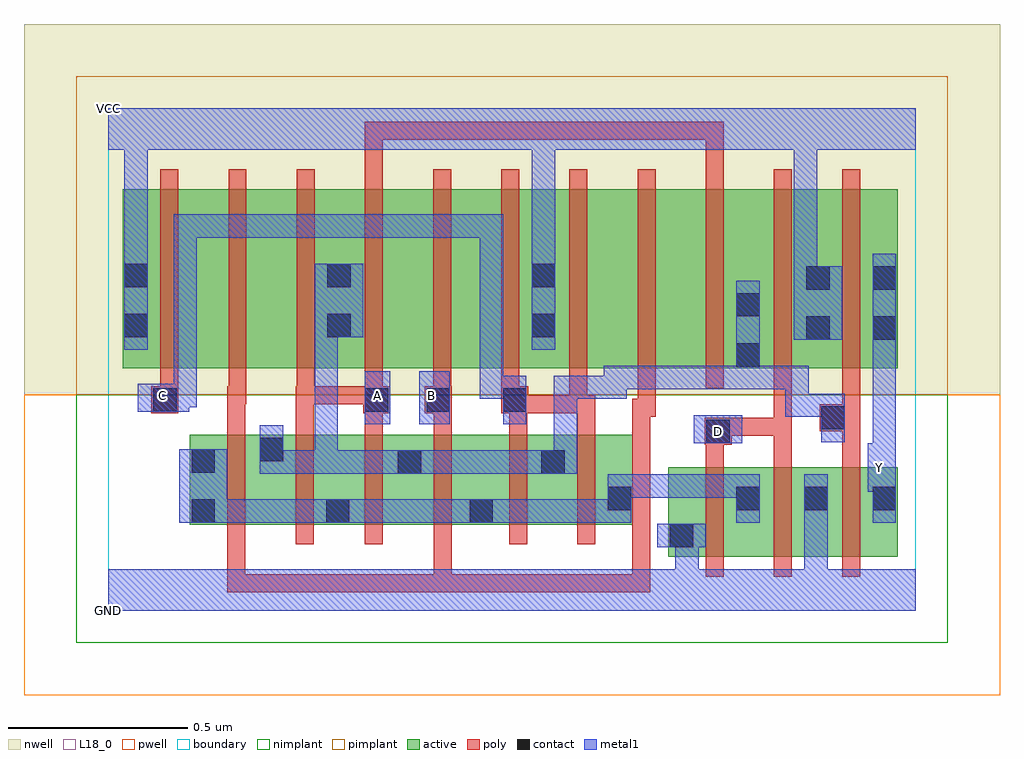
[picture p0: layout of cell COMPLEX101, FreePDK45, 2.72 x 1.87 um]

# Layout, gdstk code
import gdstk
lib = gdstk.Library(unit=1e-6, precision=1e-09)
def R(c, l, rs):  # rectangles x0, y0, x1, y1
    for r in rs: c.add(gdstk.rectangle(r[:2], r[2:], *l))
def A(c, l, x, y, w, h, nx, ny, dx, dy):  # array of equal rectangles
    R(c, l, [(x+i*dx, y+j*dy, x+i*dx+w, y+j*dy+h) for i in range(nx) for j in range(ny)])
active = (1, 0)
pwell = (2, 0)
nwell = (3, 0)
nimplant = (4, 0)
pimplant = (5, 0)
poly = (9, 0)
contact = (10, 0)
metal1 = (11, 0)
L18_0 = (18, 0)
boundary = (235, 0)

complex101 = lib.new_cell('COMPLEX101')
A(complex101, active, 0.602, 0.24, 0.275, 0.25, 3, 1, 0.2, 0)
A(complex101, active, 0.265, 0.675, 0.19, 0.5, 3, 1, 0.57, 0)
A(complex101, active, 0.455, 0.675, 0.225, 0.5, 3, 1, 0.57, 0)
R(complex101, active, [(1.56,0.15,1.82,0.4), (1.745,0.15,2.01,0.4), (1.935,0.15,2.2,0.4), (1.935,0.15,2.01,0.4), (1.56,0.172,1.635,0.4), (1.745,0.2,1.82,0.365), (2.125,0.2,2.2,0.4), (0.227,0.24,0.492,0.49), (0.227,0.24,0.302,0.49), (0.417,0.24,0.677,0.49), (0.602,0.24,0.677,0.467), (1.002,0.24,1.077,0.405), (1.202,0.24,1.462,0.49), (1.387,0.24,1.462,0.49), (0.417,0.297,0.492,0.487), (0.802,0.297,0.877,0.452), (1.202,0.297,1.277,0.475), (0.04,0.675,0.115,1.175), (0.04,0.675,0.265,1.175), (0.605,0.675,0.835,1.175), (0.605,0.675,0.68,1.07), (1.175,0.675,1.25,1.175), (1.175,0.675,1.405,1.175), (1.745,0.675,1.82,1.157), (1.745,0.675,2.015,1.175), (1.94,0.675,2.2,1.175), (1.94,0.675,2.015,1.175), (2.125,0.675,2.2,1.157)])
R(complex101, pwell, [(-0.235,-0.235,2.485,0.602)])
R(complex101, nwell, [(-0.235,0.602,2.485,1.635)])
R(complex101, nimplant, [(-0.09,-0.09,2.34,0.602)])
R(complex101, pimplant, [(-0.09,0.602,2.34,1.49)])
A(complex101, poly, 1.665, 0.095, 0.05, 0.36, 3, 1, 0.19, 0)
A(complex101, poly, 0.145, 0.575, 0.05, 0.095, 6, 1, 0.19, 0)
A(complex101, poly, 0.145, 0.62, 0.05, 0.61, 11, 1, 0.19, 0)
R(complex101, poly, [(0.332,0.052,0.382,0.235), (0.332,0.052,0.382,0.102), (0.332,0.052,0.382,0.102), (0.332,0.052,0.382,0.102), (0.332,0.052,0.627,0.102), (0.577,0.052,0.627,0.102), (0.577,0.052,0.627,0.102), (0.577,0.052,0.627,0.102), (0.577,0.052,0.8,0.102), (0.75,0.052,0.8,0.102), (0.75,0.052,0.8,0.102), (0.75,0.052,0.8,0.102), (0.75,0.052,0.957,0.102), (0.907,0.052,0.957,0.235), (0.907,0.052,0.957,0.102), (0.907,0.052,0.957,0.102), (0.907,0.052,0.957,0.102), (0.907,0.052,1.202,0.102), (1.152,0.052,1.202,0.102), (1.152,0.052,1.377,0.102), (1.327,0.052,1.377,0.102), (1.327,0.052,1.377,0.102), (1.327,0.052,1.377,0.102), (1.327,0.052,1.51,0.102), (1.46,0.052,1.51,0.102), (1.46,0.052,1.51,0.102), (1.46,0.052,1.51,0.102), (1.46,0.052,1.51,0.102), (1.46,0.052,1.51,0.102), (1.46,0.052,1.51,0.59), (0.332,0.185,0.382,0.545), (0.522,0.185,0.572,0.545), (0.715,0.185,0.765,0.545), (0.907,0.185,0.957,0.545), (1.117,0.185,1.167,0.545), (1.307,0.185,1.357,0.545), (1.665,0.405,1.715,0.512), (1.855,0.405,1.905,0.537), (2.045,0.405,2.095,0.55), (1.662,0.462,1.737,0.537), (1.687,0.487,1.9,0.537), (1.85,0.487,1.905,0.537), (1.85,0.487,1.9,0.537), (1.855,0.487,1.905,0.67), (1.855,0.487,1.905,0.537), (0.332,0.495,0.382,0.625), (0.522,0.495,0.572,0.625), (0.715,0.495,0.765,0.6), (0.907,0.495,0.957,0.6), (1.117,0.495,1.167,0.6), (1.307,0.495,1.357,0.6), (1.982,0.5,2.095,0.575), (2.045,0.525,2.095,0.67), (1.46,0.54,1.51,0.59), (1.46,0.54,1.51,0.59), (1.46,0.54,1.525,0.59), (1.475,0.54,1.525,0.67), (0.12,0.55,0.195,0.625), (0.71,0.55,0.785,0.625), (0.882,0.55,0.957,0.625), (1.095,0.55,1.17,0.625), (1.12,0.55,1.335,0.6), (1.285,0.55,1.335,0.6), (1.285,0.55,1.335,0.6), (1.285,0.55,1.335,0.67), (1.285,0.55,1.357,0.6), (0.332,0.575,0.385,0.625), (0.522,0.575,0.575,0.625), (0.525,0.575,0.575,0.625), (0.525,0.575,0.575,0.625), (0.525,0.575,0.76,0.625), (0.715,1.18,0.765,1.362), (1.665,1.18,1.715,1.362), (0.715,1.312,0.765,1.362), (0.715,1.312,0.765,1.362), (0.715,1.312,0.765,1.362), (0.715,1.312,1.012,1.362), (0.962,1.312,1.012,1.362), (0.962,1.312,1.012,1.362), (0.962,1.312,1.012,1.362), (0.962,1.312,1.202,1.362), (1.152,1.312,1.202,1.362), (1.152,1.312,1.202,1.362), (1.152,1.312,1.202,1.362), (1.152,1.312,1.377,1.362), (1.327,1.312,1.377,1.362), (1.327,1.312,1.51,1.362), (1.46,1.312,1.51,1.362), (1.46,1.312,1.51,1.362), (1.46,1.312,1.51,1.362), (1.46,1.312,1.715,1.362), (1.665,1.312,1.715,1.362), (1.665,1.312,1.715,1.362), (1.665,1.312,1.715,1.362)])
A(complex101, contact, 1.75, 0.28, 0.065, 0.065, 3, 1, 0.19, 0)
R(complex101, contact, [(1.565,0.177,1.63,0.242), (0.232,0.245,0.297,0.31), (0.607,0.245,0.672,0.31), (1.007,0.245,1.072,0.31), (1.392,0.28,1.457,0.345), (0.807,0.382,0.872,0.447), (1.207,0.382,1.272,0.447), (0.232,0.385,0.297,0.45), (0.422,0.417,0.487,0.482), (1.667,0.467,1.732,0.532), (1.987,0.505,2.052,0.57), (0.125,0.555,0.19,0.62), (0.715,0.555,0.78,0.62), (0.887,0.555,0.952,0.62), (1.1,0.555,1.165,0.62), (1.75,0.68,1.815,0.745), (1.945,0.755,2.01,0.82), (2.13,0.755,2.195,0.82), (0.045,0.762,0.11,0.827), (0.61,0.762,0.675,0.827), (1.18,0.762,1.245,0.827), (1.75,0.82,1.815,0.885), (1.945,0.895,2.01,0.96), (2.13,0.895,2.195,0.96), (0.045,0.902,0.11,0.967), (0.61,0.902,0.675,0.967), (1.18,0.902,1.245,0.967)])
A(complex101, metal1, 1.75, 0.245, 0.065, 0.135, 3, 1, 0.19, 0)
R(complex101, metal1, [(0,0,2.25,0.115), (1.58,0.05,1.645,0.115), (1.58,0.05,1.645,0.115), (1.58,0.05,1.645,0.242), (1.94,0.05,2.005,0.115), (1.94,0.05,2.005,0.115), (1.94,0.05,2.005,0.115), (1.94,0.05,2.005,0.115), (1.94,0.05,2.005,0.31), (1.53,0.177,1.665,0.242), (1.58,0.177,1.645,0.242), (1.58,0.177,1.645,0.242), (0.197,0.245,0.332,0.45), (0.267,0.245,0.362,0.31), (0.297,0.245,0.362,0.31), (0.297,0.245,0.5,0.31), (0.435,0.245,0.5,0.31), (0.435,0.245,0.5,0.31), (0.435,0.245,0.5,0.31), (0.435,0.245,0.637,0.31), (0.572,0.245,0.707,0.31), (0.642,0.245,0.707,0.31), (0.642,0.245,0.707,0.31), (0.642,0.245,0.847,0.31), (0.782,0.245,0.847,0.31), (0.782,0.245,0.847,0.31), (0.782,0.245,0.847,0.31), (0.782,0.245,1.037,0.31), (0.972,0.245,1.107,0.31), (1.042,0.245,1.107,0.31), (1.042,0.245,1.107,0.31), (1.042,0.245,1.302,0.31), (1.237,0.245,1.302,0.31), (1.237,0.245,1.302,0.31), (1.237,0.245,1.302,0.31), (1.237,0.245,1.457,0.31), (1.392,0.245,1.457,0.38), (1.392,0.315,1.457,0.38), (1.392,0.315,1.457,0.38), (1.392,0.315,1.457,0.38), (1.392,0.315,1.457,0.38), (1.392,0.315,1.677,0.38), (1.612,0.315,1.677,0.38), (1.612,0.315,1.677,0.38), (1.612,0.315,1.677,0.38), (1.612,0.315,1.815,0.38), (2.13,0.315,2.195,0.397), (2.117,0.332,2.195,0.467), (0.422,0.382,0.487,0.517), (0.422,0.382,0.5,0.447), (0.435,0.382,0.5,0.447), (0.435,0.382,0.64,0.447), (0.575,0.382,0.64,0.447), (0.575,0.382,0.64,0.447), (0.575,0.382,0.64,0.447), (0.575,0.382,0.837,0.447), (0.575,0.382,0.64,0.827), (0.772,0.382,0.907,0.447), (0.842,0.382,0.907,0.447), (0.842,0.382,0.907,0.447), (0.842,0.382,1.1,0.447), (1.035,0.382,1.1,0.447), (1.035,0.382,1.1,0.447), (1.035,0.382,1.1,0.447), (1.035,0.382,1.237,0.447), (1.172,0.382,1.307,0.447), (1.242,0.382,1.307,0.655), (2.13,0.402,2.195,0.785), (1.632,0.467,1.767,0.545), (1.987,0.47,2.052,0.605), (0.715,0.52,0.785,0.667), (0.867,0.52,0.952,0.667), (1.1,0.52,1.165,0.655), (1.887,0.54,2.052,0.605), (1.887,0.54,1.952,0.605), (1.887,0.54,1.952,0.682), (0.082,0.555,0.225,0.632), (0.16,0.567,0.247,0.632), (0.182,0.567,0.247,0.632), (0.182,0.567,0.247,1.105), (1.035,0.59,1.1,0.655), (1.035,0.59,1.165,0.655), (1.035,0.59,1.1,1.105), (1.242,0.59,1.307,0.655), (1.242,0.59,1.307,0.655), (1.242,0.59,1.307,0.655), (1.242,0.59,1.307,0.655), (1.242,0.59,1.307,0.655), (1.242,0.59,1.445,0.655), (1.38,0.59,1.445,0.655), (1.38,0.59,1.445,0.655), (1.38,0.59,1.445,0.682), (1.38,0.617,1.677,0.682), (1.612,0.617,1.677,0.682), (1.612,0.617,1.677,0.682), (1.612,0.617,1.677,0.682), (1.612,0.617,1.815,0.682), (1.75,0.617,1.815,0.682), (1.75,0.617,1.815,0.682), (1.75,0.617,1.952,0.682), (1.75,0.617,1.815,0.92), (1.887,0.617,1.952,0.682), (2.13,0.72,2.195,0.995), (0.045,0.727,0.11,1.002), (1.18,0.727,1.245,1.002), (1.91,0.755,2.045,0.96), (0.575,0.762,0.64,0.827), (0.575,0.762,0.64,0.827), (0.575,0.762,0.71,0.967), (1.91,0.895,1.975,1.35), (0.045,0.937,0.11,1.35), (1.18,0.937,1.245,1.35), (0.182,1.04,0.247,1.105), (0.182,1.04,0.247,1.105), (0.182,1.04,0.247,1.105), (0.182,1.04,0.362,1.105), (0.297,1.04,0.362,1.105), (0.297,1.04,0.5,1.105), (0.435,1.04,0.5,1.105), (0.435,1.04,0.5,1.105), (0.435,1.04,0.5,1.105), (0.435,1.04,0.637,1.105), (0.572,1.04,0.637,1.105), (0.572,1.04,0.637,1.105), (0.572,1.04,0.637,1.105), (0.572,1.04,0.847,1.105), (0.782,1.04,0.847,1.105), (0.782,1.04,0.847,1.105), (0.782,1.04,0.847,1.105), (0.782,1.04,0.847,1.105), (0.782,1.04,0.847,1.105), (0.782,1.04,1.1,1.105), (1.035,1.04,1.1,1.105), (0,1.285,2.25,1.4), (0.045,1.285,0.11,1.35), (0.045,1.285,0.11,1.35), (1.18,1.285,1.245,1.35), (1.18,1.285,1.245,1.35), (1.91,1.285,1.975,1.35), (1.91,1.285,1.975,1.35)])
R(complex101, L18_0, [(0,0,2.25,0.115), (1.58,0.05,1.645,0.115), (1.58,0.05,1.645,0.115), (1.58,0.05,1.645,0.242), (1.94,0.05,2.005,0.115), (1.94,0.05,2.005,0.115), (1.94,0.05,2.005,0.115), (1.94,0.05,2.005,0.115), (1.94,0.05,2.005,0.31), (1.53,0.177,1.665,0.242), (1.58,0.177,1.645,0.242), (1.58,0.177,1.645,0.242), (1.94,0.245,2.005,0.38), (2.13,0.245,2.195,0.38), (2.13,0.315,2.195,0.397), (2.117,0.332,2.195,0.467), (2.117,0.367,2.182,0.432), (2.13,0.402,2.195,0.785), (1.632,0.467,1.767,0.545), (1.667,0.467,1.732,0.532), (0.715,0.52,0.785,0.667), (0.867,0.52,0.952,0.667), (1.1,0.52,1.165,0.655), (0.082,0.555,0.225,0.632), (0.117,0.567,0.182,0.632), (0.16,0.567,0.247,0.632), (0.182,0.567,0.247,0.632), (0.182,0.567,0.247,1.105), (0.717,0.567,0.782,0.632), (0.867,0.567,0.932,0.632), (1.035,0.59,1.1,0.655), (1.035,0.59,1.1,1.105), (1.035,0.59,1.165,0.655), (2.13,0.72,2.195,0.995), (0.045,0.727,0.11,1.002), (1.18,0.727,1.245,1.002), (1.91,0.755,2.045,0.96), (1.91,0.895,1.975,1.35), (0.045,0.937,0.11,1.35), (1.18,0.937,1.245,1.35), (0.182,1.04,0.247,1.105), (0.182,1.04,0.247,1.105), (0.182,1.04,0.247,1.105), (0.182,1.04,0.362,1.105), (0.297,1.04,0.362,1.105), (0.297,1.04,0.5,1.105), (0.435,1.04,0.5,1.105), (0.435,1.04,0.5,1.105), (0.435,1.04,0.5,1.105), (0.435,1.04,0.637,1.105), (0.572,1.04,0.637,1.105), (0.572,1.04,0.637,1.105), (0.572,1.04,0.637,1.105), (0.572,1.04,0.847,1.105), (0.782,1.04,0.847,1.105), (0.782,1.04,0.847,1.105), (0.782,1.04,0.847,1.105), (0.782,1.04,0.847,1.105), (0.782,1.04,0.847,1.105), (0.782,1.04,1.1,1.105), (1.035,1.04,1.1,1.105), (0,1.285,2.25,1.4), (0.045,1.285,0.11,1.35), (0.045,1.285,0.11,1.35), (1.18,1.285,1.245,1.35), (1.18,1.285,1.245,1.35), (1.91,1.285,1.975,1.35), (1.91,1.285,1.975,1.35)])
R(complex101, boundary, [(0,0,2.25,1.4)])
complex101.add(gdstk.Label('A', (0.75,0.6), layer=11, texttype=0))
complex101.add(gdstk.Label('B', (0.9,0.6), layer=11, texttype=0))
complex101.add(gdstk.Label('C', (0.15,0.6), layer=11, texttype=0))
complex101.add(gdstk.Label('D', (1.7,0.5), layer=11, texttype=0))
complex101.add(gdstk.Label('Y', (2.15,0.4), layer=11, texttype=0))
complex101.add(gdstk.Label('VCC', (0,1.4), layer=11, texttype=0))
complex101.add(gdstk.Label('GND', (0,0), layer=11, texttype=0))

lib.write_gds('COMPLEX101.gds')
